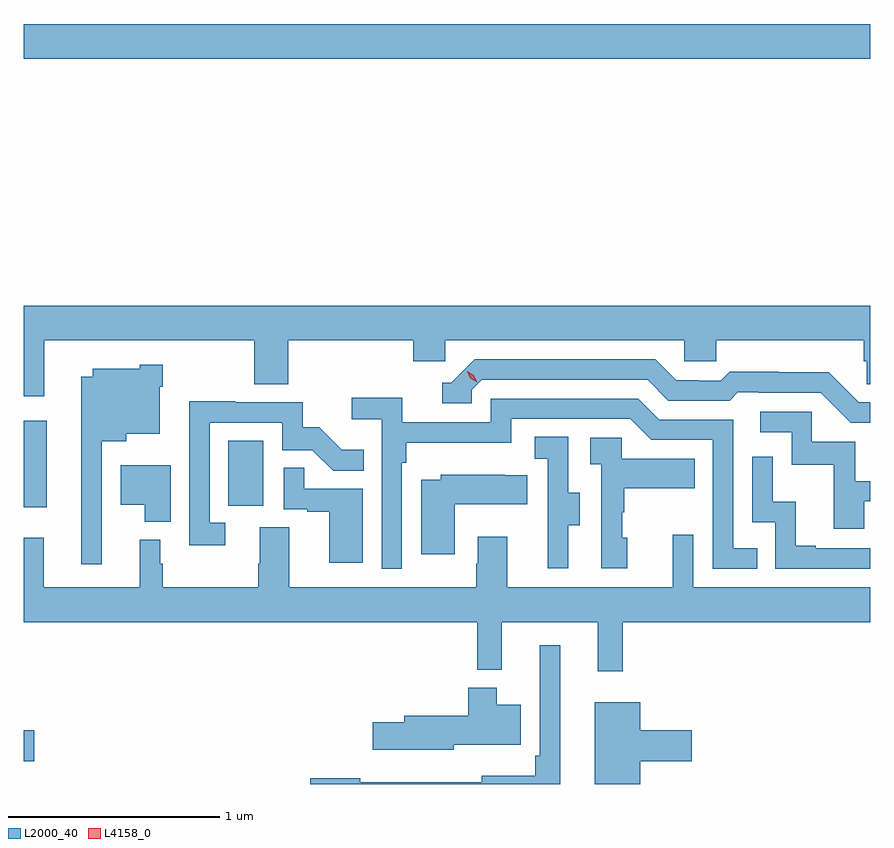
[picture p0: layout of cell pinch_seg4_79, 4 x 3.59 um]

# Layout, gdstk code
import gdstk
lib = gdstk.Library(unit=1e-6, precision=1e-09)
def R(c, l, rs):  # rectangles x0, y0, x1, y1
    for r in rs: c.add(gdstk.rectangle(r[:2], r[2:], *l))
def P(c, l, *ps):  # polygons
    for p in ps: c.add(gdstk.Polygon(p, *l))
L2000_40 = (2000, 40)
L4158_0 = (4158, 0)

pinch_seg4_79 = lib.new_cell('pinch_seg4_79')
R(pinch_seg4_79, L2000_40, [(1055.461,824.135,1055.509,824.282), (1055.461,825.335,1055.569,825.745), (1056.428,825.342,1056.592,825.649), (1055.461,827.456,1059.461,827.62)])
P(pinch_seg4_79, L2000_40, [(1055.556,826.124),(1056.55,826.124),(1056.55,825.916),(1056.71,825.916),(1056.71,826.124),(1057.301,826.124),(1057.301,826.026),(1057.452,826.026),(1057.452,826.124),(1058.583,826.124),(1058.583,826.026),(1058.733,826.026),(1058.733,826.124),(1059.431,826.124),(1059.431,826.026),(1059.445,826.026),(1059.445,825.916),(1059.461,825.916),(1059.461,826.288),(1055.461,826.288),(1055.461,825.861),(1055.556,825.861)],
  [(1059.461,825.831),(1059.408,825.831),(1059.266,825.973),(1059.03,825.973),(1059.03,825.976),(1058.797,825.976),(1058.755,825.933),(1058.652,825.933),(1058.652,825.936),(1058.545,825.936),(1058.446,826.035),(1057.593,826.035),(1057.482,825.924),(1057.439,825.924),(1057.439,825.828),(1057.578,825.828),(1057.578,825.891),(1057.626,825.939),(1058.409,825.939),(1058.508,825.84),(1058.797,825.84),(1058.836,825.879),(1058.935,825.879),(1058.935,825.876),(1059.228,825.876),(1059.369,825.735),(1059.461,825.735)],
  [(1055.829,825.647),(1055.944,825.647),(1055.944,825.683),(1056.103,825.683),(1056.103,825.905),(1056.117,825.905),(1056.117,826.009),(1056.009,826.009),(1056.009,825.991),(1055.786,825.991),(1055.786,825.952),(1055.732,825.952),(1055.732,825.066),(1055.829,825.066)],
  [(1057.248,825.545),(1057.268,825.545),(1057.268,825.641),(1057.764,825.641),(1057.764,825.753),(1058.328,825.753),(1058.427,825.654),(1058.718,825.654),(1058.718,825.045),(1058.927,825.045),(1058.927,825.141),(1058.814,825.141),(1058.814,825.75),(1058.464,825.75),(1058.365,825.849),(1057.668,825.849),(1057.668,825.738),(1057.25,825.738),(1057.25,825.854),(1057.011,825.854),(1057.011,825.752),(1057.152,825.752),(1057.152,825.045),(1057.248,825.045)],
  [(1056.412,825.261),(1056.339,825.261),(1056.339,825.735),(1056.681,825.735),(1056.681,825.606),(1056.825,825.606),(1056.923,825.508),(1057.067,825.508),(1057.067,825.607),(1056.963,825.607),(1056.856,825.714),(1056.78,825.714),(1056.78,825.831),(1056.461,825.831),(1056.461,825.836),(1056.243,825.836),(1056.243,825.156),(1056.412,825.156)],
  [(1059.433,825.363),(1059.461,825.363),(1059.461,825.459),(1059.391,825.459),(1059.391,825.645),(1059.186,825.645),(1059.186,825.786),(1058.943,825.786),(1058.943,825.69),(1059.09,825.69),(1059.09,825.537),(1059.289,825.537),(1059.289,825.234),(1059.433,825.234)],
  [(1058.035,825.25),(1058.089,825.25),(1058.089,825.405),(1058.034,825.405),(1058.034,825.668),(1057.875,825.668),(1057.875,825.565),(1057.938,825.565),(1057.938,825.261),(1057.937,825.261),(1057.937,825.048),(1058.035,825.048)],
  [(1058.314,825.192),(1058.289,825.192),(1058.289,825.311),(1058.299,825.311),(1058.299,825.425),(1058.633,825.425),(1058.633,825.565),(1058.286,825.565),(1058.286,825.663),(1058.139,825.663),(1058.139,825.539),(1058.19,825.539),(1058.19,825.048),(1058.314,825.048)],
  [(1059.461,825.141),(1059.205,825.141),(1059.205,825.154),(1059.11,825.154),(1059.11,825.362),(1059,825.362),(1059,825.574),(1058.904,825.574),(1058.904,825.264),(1059.012,825.264),(1059.012,825.045),(1059.461,825.045)],
  [(1056.154,825.535),(1055.918,825.535),(1055.918,825.347),(1056.032,825.347),(1056.032,825.266),(1056.154,825.266)],
  [(1057.063,825.423),(1056.785,825.423),(1056.785,825.521),(1056.69,825.521),(1056.69,825.327),(1056.801,825.327),(1056.801,825.315),(1056.905,825.315),(1056.905,825.072),(1057.063,825.072)],
  [(1057.498,825.35),(1057.841,825.35),(1057.841,825.487),(1057.733,825.487),(1057.733,825.49),(1057.431,825.49),(1057.431,825.466),(1057.34,825.466),(1057.34,825.114),(1057.498,825.114)],
  [(1058.291,824.792),(1059.461,824.792),(1059.461,824.956),(1058.625,824.956),(1058.625,825.205),(1058.528,825.205),(1058.528,824.956),(1057.747,824.956),(1057.747,825.196),(1057.607,825.196),(1057.607,825.068),(1057.6,825.068),(1057.6,824.956),(1056.715,824.956),(1056.715,825.242),(1056.575,825.242),(1056.575,825.068),(1056.568,825.068),(1056.568,824.956),(1056.118,824.956),(1056.118,825.068),(1056.106,825.068),(1056.106,825.181),(1056.008,825.181),(1056.008,824.956),(1055.555,824.956),(1055.555,825.19),(1055.461,825.19),(1055.461,824.792),(1057.603,824.792),(1057.603,824.567),(1057.721,824.567),(1057.721,824.792),(1058.174,824.792),(1058.174,824.559),(1058.291,824.559)],
  [(1057.996,824.683),(1057.899,824.683),(1057.899,824.161),(1057.879,824.161),(1057.879,824.065),(1057.625,824.065),(1057.625,824.035),(1057.05,824.035),(1057.05,824.054),(1056.815,824.054),(1056.815,824.027),(1057.996,824.027)],
  [(1057.494,824.213),(1057.81,824.213),(1057.81,824.401),(1057.696,824.401),(1057.696,824.482),(1057.562,824.482),(1057.562,824.349),(1057.259,824.349),(1057.259,824.319),(1057.11,824.319),(1057.11,824.189),(1057.494,824.189)],
  [(1058.374,824.135),(1058.617,824.135),(1058.617,824.282),(1058.374,824.282),(1058.374,824.413),(1058.159,824.413),(1058.159,824.027),(1058.374,824.027)])
P(pinch_seg4_79, L4158_0, [(1057.603,825.926),(1057.572,825.946),(1057.556,825.978),(1057.556,825.978),(1057.557,825.978),(1057.587,825.959),(1057.603,825.926),(1057.603,825.926)])

lib.write_gds('pinch_seg4_79.gds')
